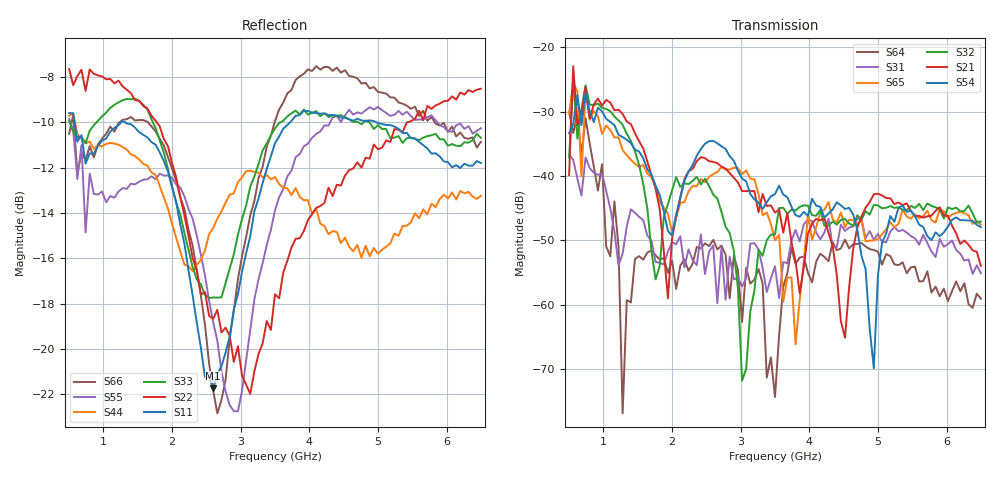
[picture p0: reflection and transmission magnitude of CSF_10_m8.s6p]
!Keysight Technologies,M9804A,MY58100912,A.14.10.03
!Date: Thursday, April 27, 2023 10:28:33
!Correction: S11(C  6-Port  )
!S12(C  6-Port  )
!S13(C  6-Port  )
!S14(C  6-Port  )
!S15(C  6-Port  )
!S16(C  6-Port  )
!S21(C  6-Port  )
!S22(C  6-Port  )
!S23(C  6-Port  )
!S24(C  6-Port  )
!S25(C  6-Port  )
!S26(C  6-Port  )
!S31(C  6-Port  )
!S32(C  6-Port  )
!S33(C  6-Port  )
!S34(C  6-Port  )
!S35(C  6-Port  )
!S36(C  6-Port  )
!S41(C  6-Port  )
!S42(C  6-Port  )
!S43(C  6-Port  )
!S44(C  6-Port  )
!S45(C  6-Port  )
!S46(C  6-Port  )
!S51(C  6-Port  )
!S52(C  6-Port  )
!S53(C  6-Port  )
!S54(C  6-Port  )
!S55(C  6-Port  )
!S56(C  6-Port  )
!S61(C  6-Port  )
!S62(C  6-Port  )
!S63(C  6-Port  )
!S64(C  6-Port  )
!S65(C  6-Port  )
!S66(C  6-Port  )
!S6P File: Measurement: :
# Hz S  RI  R 50
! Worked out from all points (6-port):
!   101 points, 500 MHz to 6.5 GHz, reference 50 ohm
!   strongest paths, dB at 500 MHz, 2 GHz, 3.5 GHz, 5 GHz, 6.5 GHz:
!     S54: -33.3, -49.3, -42.8, -55.4, -47.9
!     S21: -39.8, -49.7, -45.7, -42.7, -53.9
!     S32: -37.1, -42.2, -49.1, -44.5, -47.1
!     S65: -30.3, -48.7, -50.0, -49.8, -47.5
!     S31: -36.6, -50.3, -54.0, -49.0, -55.1
!     S64: -30.0, -53.1, -74.3, -51.7, -59.1
!   lowest |S11| = -21.7 dB at 2.6 GHz (marker M1), VSWR 1.18, Z = 42.7 + j2 ohm
!   |S11| at or under -10 dB: 579.5 MHz to 1.26 GHz (680.2 MHz wide, 74 % of centre); 1.313 GHz to 3.718 GHz (2.405 GHz wide, 95.6 % of centre); 4.98 GHz to end of sweep
